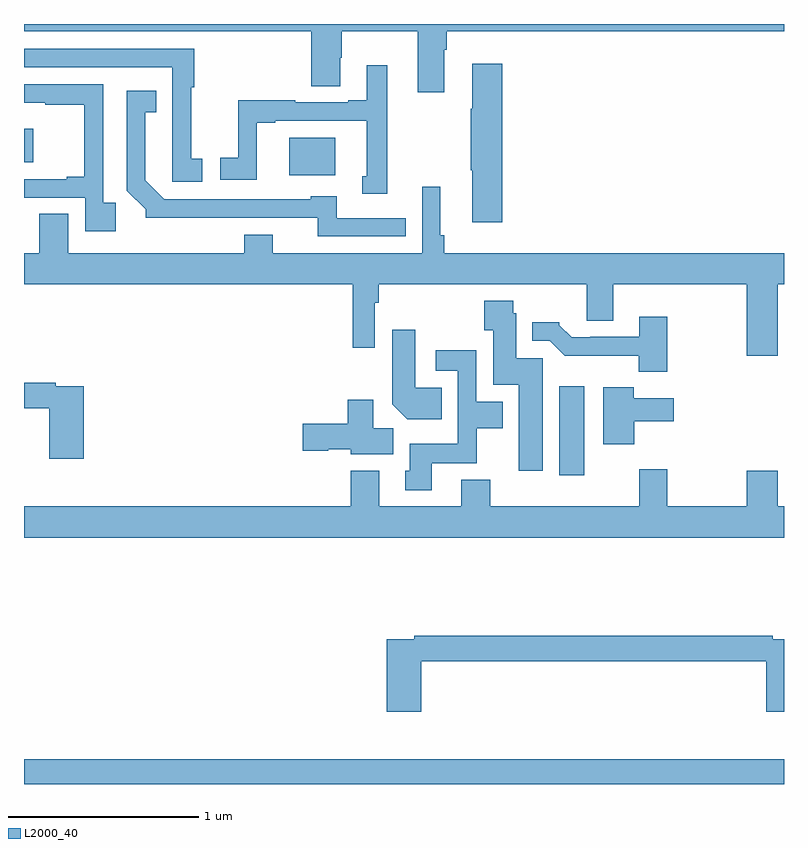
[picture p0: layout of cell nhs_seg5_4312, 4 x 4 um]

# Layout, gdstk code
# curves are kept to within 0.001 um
import gdstk
lib = gdstk.Library(unit=1e-6, precision=1e-09)
def R(c, l, rs):  # rectangles x0, y0, x1, y1
    for r in rs: c.add(gdstk.rectangle(r[:2], r[2:], *l))
def P(c, l, *ps):  # polygons
    for p in ps: c.add(gdstk.Polygon(p, *l))
L2000_40 = (2000, 40)

nhs_seg5_4312 = lib.new_cell('nhs_seg5_4312')
R(nhs_seg5_4312, L2000_40, [(365,852.799,369,852.928), (367.817,854.424,367.948,854.893), (366.395,856.004,366.637,856.201), (365,856.071,365.048,856.249)])
P(nhs_seg5_4312, L2000_40, [(367.213,856.664),(367.226,856.664),(367.226,856.76),(369,856.76),(369,856.799),(365,856.799),(365,856.76),(366.512,856.76),(366.512,856.471),(366.664,856.471),(366.664,856.622),(366.672,856.622),(366.672,856.76),(367.073,856.76),(367.073,856.44),(367.213,856.44)],
  [(365.938,856.089),(365.88,856.089),(365.88,856.465),(365.897,856.465),(365.897,856.668),(365,856.668),(365,856.572),(365.781,856.572),(365.781,856.244),(365.78,856.244),(365.78,855.969),(365.938,855.969)],
  [(367.517,856.591),(367.358,856.591),(367.358,856.352),(367.351,856.352),(367.351,856.03),(367.358,856.03),(367.358,855.756),(367.517,855.756)],
  [(366.913,856.582),(366.803,856.582),(366.803,856.399),(366.707,856.399),(366.707,856.386),(366.428,856.386),(366.428,856.399),(366.127,856.399),(366.127,856.094),(366.033,856.094),(366.033,855.978),(366.226,855.978),(366.226,856.278),(366.322,856.278),(366.322,856.29),(366.803,856.29),(366.803,855.999),(366.779,855.999),(366.779,855.905),(366.913,855.905)],
  [(365.483,855.859),(365.418,855.859),(365.418,856.482),(365,856.482),(365,856.385),(365.111,856.385),(365.111,856.374),(365.317,856.374),(365.317,855.994),(365.225,855.994),(365.225,855.981),(365,855.981),(365,855.885),(365.322,855.885),(365.322,855.708),(365.483,855.708)],
  [(367.01,855.777),(366.646,855.777),(366.646,855.892),(366.51,855.892),(366.51,855.876),(365.739,855.876),(365.638,855.977),(365.638,856.334),(365.696,856.334),(365.696,856.447),(365.541,856.447),(365.541,855.922),(365.64,855.823),(365.64,855.779),(366.547,855.78),(366.547,855.681),(367.01,855.681)],
  [(367.192,855.688),(367.192,855.943),(367.095,855.943),(367.095,855.592),(366.31,855.592),(366.31,855.691),(366.158,855.691),(366.158,855.592),(365.233,855.592),(365.233,855.8),(365.081,855.8),(365.081,855.592),(365,855.592),(365,855.428),(366.73,855.428),(366.73,855.096),(366.846,855.096),(366.846,855.332),(366.866,855.332),(366.866,855.428),(367.961,855.428),(367.961,855.238),(368.101,855.238),(368.101,855.428),(368.804,855.428),(368.804,855.054),(368.968,855.054),(368.968,855.428),(369,855.428),(369,855.592),(367.211,855.592),(367.211,855.688)],
  [(367.729,855.039),(367.591,855.039),(367.591,855.276),(367.575,855.276),(367.575,855.343),(367.423,855.343),(367.423,855.187),(367.469,855.187),(367.469,854.9),(367.604,854.9),(367.604,854.448),(367.729,854.448)],
  [(368.385,855.259),(368.237,855.259),(368.237,855.153),(367.981,855.153),(367.981,855.15),(367.882,855.15),(367.818,855.214),(367.818,855.229),(367.676,855.229),(367.676,855.132),(367.767,855.132),(367.846,855.054),(368.235,855.054),(368.235,854.969),(368.385,854.969)],
  [(367.199,854.884),(367.06,854.884),(367.06,855.19),(366.938,855.19),(366.938,854.798),(367.016,854.72),(367.199,854.72)],
  [(367.147,854.486),(367.383,854.486),(367.383,854.672),(367.519,854.672),(367.519,854.812),(367.38,854.812),(367.38,855.082),(367.167,855.082),(367.167,854.973),(367.284,854.973),(367.284,854.59),(367.031,854.59),(367.031,854.448),(367.007,854.448),(367.007,854.346),(367.147,854.346)],
  [(365.315,854.892),(365.168,854.892),(365.168,854.912),(365,854.912),(365,854.776),(365.132,854.776),(365.132,854.511),(365.315,854.511)],
  [(368.212,854.708),(368.419,854.708),(368.419,854.83),(368.21,854.83),(368.21,854.887),(368.048,854.887),(368.048,854.586),(368.212,854.586)],
  [(366.943,854.672),(366.838,854.672),(366.838,854.821),(366.704,854.821),(366.704,854.696),(366.468,854.696),(366.468,854.554),(366.6,854.554),(366.6,854.561),(366.72,854.561),(366.72,854.534),(366.943,854.534)],
  [(369,854.26),(368.968,854.26),(368.968,854.449),(368.804,854.449),(368.804,854.26),(368.385,854.26),(368.385,854.455),(368.237,854.455),(368.237,854.26),(367.454,854.26),(367.454,854.401),(367.301,854.401),(367.301,854.26),(366.871,854.26),(366.871,854.449),(366.719,854.449),(366.719,854.26),(365,854.26),(365,854.096),(369,854.096)],
  [(367.091,853.444),(368.906,853.444),(368.906,853.179),(369,853.179),(369,853.56),(368.942,853.56),(368.942,853.58),(367.054,853.58),(367.054,853.56),(366.908,853.56),(366.908,853.179),(367.091,853.179)])

lib.write_gds('nhs_seg5_4312.gds')
